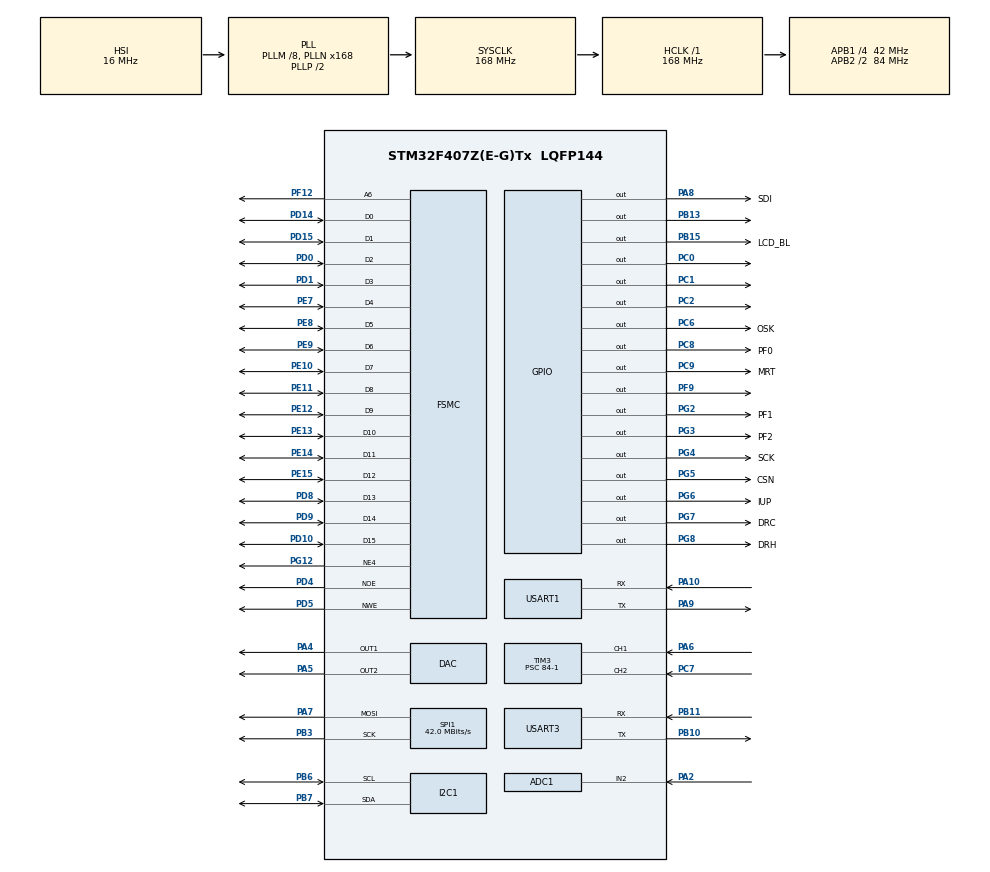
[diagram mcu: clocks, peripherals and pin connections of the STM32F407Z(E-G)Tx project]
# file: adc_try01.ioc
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ADC1.Channel-2\#ChannelRegularConversion=ADC_CHANNEL_2
ADC1.ContinuousConvMode=DISABLE
ADC1.DMAContinuousRequests=ENABLE
ADC1.ExternalTrigConv=ADC_EXTERNALTRIGCONV_T2_TRGO
ADC1.NbrOfConversionFlag=1
ADC1.Rank-2\#ChannelRegularConversion=1
ADC1.SamplingTime-2\#ChannelRegularConversion=ADC_SAMPLETIME_3CYCLES
ADC1.ScanConvMode=DISABLE
ADC1.master=1
DAC.DAC_OutputBuffer=DAC_OUTPUTBUFFER_DISABLE
DAC.DAC_Trigger=DAC_TRIGGER_T5_TRGO
Dma.ADC1.0.Direction=DMA_PERIPH_TO_MEMORY
Dma.ADC1.0.FIFOMode=DMA_FIFOMODE_DISABLE
Dma.ADC1.0.Instance=DMA2_Stream0
Dma.ADC1.0.MemDataAlignment=DMA_MDATAALIGN_HALFWORD
Dma.ADC1.0.MemInc=DMA_MINC_ENABLE
Dma.ADC1.0.Mode=DMA_NORMAL
Dma.ADC1.0.PeriphDataAlignment=DMA_PDATAALIGN_HALFWORD
Dma.ADC1.0.PeriphInc=DMA_PINC_DISABLE
Dma.ADC1.0.Priority=DMA_PRIORITY_VERY_HIGH
Dma.DAC1.2.Direction=DMA_MEMORY_TO_PERIPH
Dma.DAC1.2.FIFOMode=DMA_FIFOMODE_DISABLE
Dma.DAC1.2.Instance=DMA1_Stream5
Dma.DAC1.2.MemDataAlignment=DMA_MDATAALIGN_HALFWORD
Dma.DAC1.2.MemInc=DMA_MINC_ENABLE
Dma.DAC1.2.Mode=DMA_NORMAL
Dma.DAC1.2.PeriphDataAlignment=DMA_PDATAALIGN_HALFWORD
Dma.DAC1.2.PeriphInc=DMA_PINC_DISABLE
Dma.DAC1.2.Priority=DMA_PRIORITY_LOW
Dma.Request0=ADC1
Dma.Request1=SPI1_TX
Dma.Request2=DAC1
Dma.SPI1_TX.1.Direction=DMA_MEMORY_TO_PERIPH
Dma.SPI1_TX.1.FIFOMode=DMA_FIFOMODE_DISABLE
Dma.SPI1_TX.1.Instance=DMA2_Stream3
Dma.SPI1_TX.1.MemDataAlignment=DMA_MDATAALIGN_BYTE
Dma.SPI1_TX.1.MemInc=DMA_MINC_ENABLE
Dma.SPI1_TX.1.Mode=DMA_NORMAL
Dma.SPI1_TX.1.PeriphDataAlignment=DMA_PDATAALIGN_BYTE
Dma.SPI1_TX.1.PeriphInc=DMA_PINC_DISABLE
Dma.SPI1_TX.1.Priority=DMA_PRIORITY_LOW
FSMC.AddressSetupTime1=0x0F
FSMC.BusTurnAroundDuration1=0
FSMC.DataSetupTime1=60
FSMC.ExtendedAddressSetupTime1=9
FSMC.ExtendedBusTurnAroundDuration1=0
FSMC.ExtendedDataSetupTime1=9
FSMC.ExtendedMode1=FSMC_EXTENDED_MODE_ENABLE
Mcu.Family=STM32F4
Mcu.Name=STM32F407Z(E-G)Tx
Mcu.Package=LQFP144
NVIC.ADC_IRQn=true\:2\:0\:true\:false\:true\:true\:true\:true
NVIC.DMA1_Stream5_IRQn=true\:0\:0\:false\:false\:true\:false\:true\:true
NVIC.DMA2_Stream0_IRQn=true\:0\:0\:false\:false\:true\:false\:true\:true
NVIC.DMA2_Stream3_IRQn=true\:0\:0\:false\:false\:true\:false\:true\:true
NVIC.PriorityGroup=NVIC_PRIORITYGROUP_4
NVIC.TIM3_IRQn=true\:0\:0\:false\:false\:true\:true\:true\:true
NVIC.TIM4_IRQn=true\:0\:0\:false\:false\:true\:true\:true\:true
NVIC.USART3_IRQn=true\:0\:0\:false\:false\:true\:true\:true\:true
PA10.Mode=Asynchronous
PA10.Signal=USART1_RX
PA13.Mode=Serial_Wire
PA13.Signal=SYS_JTMS-SWDIO
PA14.Mode=Serial_Wire
PA14.Signal=SYS_JTCK-SWCLK
PA2.Signal=ADCx_IN2
PA4.Signal=COMP_DAC1_group
PA5.Signal=COMP_DAC2_group
PA6.Signal=S_TIM3_CH1
PA7.Mode=TX_Only_Simplex_Unidirect_Master
PA7.Signal=SPI1_MOSI
PA8.GPIO_Label=SDI
PA8.Signal=GPIO_Output
PA9.Mode=Asynchronous
PA9.Signal=USART1_TX
PB10.Mode=Asynchronous
PB10.Signal=USART3_TX
PB11.Mode=Asynchronous
PB11.Signal=USART3_RX
PB13.Signal=GPIO_Output
PB15.GPIO_Label=LCD_BL
PB15.Signal=GPIO_Output
PB3.Mode=TX_Only_Simplex_Unidirect_Master
PB3.Signal=SPI1_SCK
PB6.Mode=I2C
PB6.Signal=I2C1_SCL
PB7.Mode=I2C
PB7.Signal=I2C1_SDA
PC0.GPIO_Speed=GPIO_SPEED_FREQ_HIGH
PC0.Signal=GPIO_Output
PC1.GPIO_Speed=GPIO_SPEED_FREQ_HIGH
PC1.Signal=GPIO_Output
PC14-OSC32_IN.Mode=LSE-External-Oscillator
PC14-OSC32_IN.Signal=RCC_OSC32_IN
PC15-OSC32_OUT.Mode=LSE-External-Oscillator
PC15-OSC32_OUT.Signal=RCC_OSC32_OUT
PC2.GPIO_Speed=GPIO_SPEED_FREQ_HIGH
PC2.Signal=GPIO_Output
PC6.GPIO_Label=OSK
PC6.Signal=GPIO_Output
PC7.Signal=S_TIM3_CH2
PC8.GPIO_Label=PF0
PC8.Signal=GPIO_Output
PC9.GPIO_Label=MRT
PC9.Signal=GPIO_Output
PD0.Signal=FSMC_D2_DA2
PD1.Signal=FSMC_D3_DA3
PD10.Signal=FSMC_D15_DA15
PD14.Signal=FSMC_D0_DA0
PD15.Signal=FSMC_D1_DA1
PD4.Signal=FSMC_NOE
PD5.Signal=FSMC_NWE
PD8.Signal=FSMC_D13_DA13
PD9.Signal=FSMC_D14_DA14
PE10.Signal=FSMC_D7_DA7
PE11.Signal=FSMC_D8_DA8
PE12.Signal=FSMC_D9_DA9
PE13.Signal=FSMC_D10_DA10
PE14.Signal=FSMC_D11_DA11
PE15.Signal=FSMC_D12_DA12
PE7.Signal=FSMC_D4_DA4
PE8.Signal=FSMC_D5_DA5
PE9.Signal=FSMC_D6_DA6
PF12.Signal=FSMC_A6
PF9.Signal=GPIO_Output
PG12.Mode=NorPsramChipSelect4_1
PG12.Signal=FSMC_NE4
PG2.GPIO_Label=PF1
PG2.Signal=GPIO_Output
PG3.GPIO_Label=PF2
PG3.Signal=GPIO_Output
PG4.GPIO_Label=SCK
PG4.Signal=GPIO_Output
PG5.GPIO_Label=CSN
PG5.Signal=GPIO_Output
PG6.GPIO_Label=IUP
PG6.Signal=GPIO_Output
PG7.GPIO_Label=DRC
PG7.Signal=GPIO_Output
PG8.GPIO_Label=DRH
PG8.Signal=GPIO_Output
PH0-OSC_IN.Mode=HSE-External-Oscillator
PH0-OSC_IN.Signal=RCC_OSC_IN
PH1-OSC_OUT.Mode=HSE-External-Oscillator
PH1-OSC_OUT.Signal=RCC_OSC_OUT
ProjectManager.HeapSize=0x200
ProjectManager.StackSize=0x400
ProjectManager.TargetToolchain=MDK-ARM V5
RCC.48MHZClocksFreq_Value=84000000
RCC.AHBFreq_Value=168000000
RCC.APB1CLKDivider=RCC_HCLK_DIV4
RCC.APB1Freq_Value=42000000
RCC.APB1TimFreq_Value=84000000
RCC.APB2CLKDivider=RCC_HCLK_DIV2
RCC.APB2Freq_Value=84000000
RCC.APB2TimFreq_Value=168000000
RCC.CortexFreq_Value=168000000
RCC.HCLKFreq_Value=168000000
RCC.HSE_VALUE=25000000
RCC.HSI_VALUE=16000000
RCC.PLLM=8
RCC.PLLN=168
RCC.SYSCLKFreq_VALUE=168000000
RCC.SYSCLKSource=RCC_SYSCLKSOURCE_PLLCLK
RCC.VCOOutputFreq_Value=336000000
SH.ADCx_IN2.0=ADC1_IN2,IN2
SH.COMP_DAC1_group.0=DAC_OUT1,DAC_OUT1
SH.COMP_DAC2_group.0=DAC_OUT2,DAC_OUT2
SH.FSMC_A6.0=FSMC_A6,A6_1
SH.FSMC_D0_DA0.0=FSMC_D0,16b-d1
SH.FSMC_D10_DA10.0=FSMC_D10,16b-d1
SH.FSMC_D11_DA11.0=FSMC_D11,16b-d1
SH.FSMC_D12_DA12.0=FSMC_D12,16b-d1
SH.FSMC_D13_DA13.0=FSMC_D13,16b-d1
SH.FSMC_D14_DA14.0=FSMC_D14,16b-d1
SH.FSMC_D15_DA15.0=FSMC_D15,16b-d1
SH.FSMC_D1_DA1.0=FSMC_D1,16b-d1
SH.FSMC_D2_DA2.0=FSMC_D2,16b-d1
SH.FSMC_D3_DA3.0=FSMC_D3,16b-d1
SH.FSMC_D4_DA4.0=FSMC_D4,16b-d1
SH.FSMC_D5_DA5.0=FSMC_D5,16b-d1
SH.FSMC_D6_DA6.0=FSMC_D6,16b-d1
SH.FSMC_D7_DA7.0=FSMC_D7,16b-d1
SH.FSMC_D8_DA8.0=FSMC_D8,16b-d1
SH.FSMC_D9_DA9.0=FSMC_D9,16b-d1
SH.FSMC_NOE.0=FSMC_NOE,Lcd1
SH.FSMC_NWE.0=FSMC_NWE,Lcd1
SH.S_TIM3_CH1.0=TIM3_CH1,TriggerSource_TI1FP1
SH.S_TIM3_CH1.1=TIM3_CH1,Input_Capture1_from_TI1
SH.S_TIM3_CH2.0=TIM3_CH2,Input_Capture2_from_TI2
SPI1.CalculateBaudRate=42.0 MBits/s
SPI1.Direction=SPI_DIRECTION_2LINES
SPI1.Mode=SPI_MODE_MASTER
SPI1.VirtualType=VM_MASTER
STMicroelectronics.X-CUBE-ALGOBUILD.1.4.0.LibraryCcDSPOoLibraryJjDSPOoLibrary=true
TIM2.AutoReloadPreload=TIM_AUTORELOAD_PRELOAD_ENABLE
TIM2.Channel-PWM\ Generation2\ No\ Output=TIM_CHANNEL_2
TIM2.Period=4-1
TIM2.Prescaler=41-1
TIM2.Pulse-PWM\ Generation2\ No\ Output=2-1
TIM2.TIM_MasterOutputTrigger=TIM_TRGO_OC2REF
TIM2.TIM_MasterSlaveMode=TIM_MASTERSLAVEMODE_DISABLE
TIM3.AutoReloadPreload=TIM_AUTORELOAD_PRELOAD_ENABLE
TIM3.Channel-Input_Capture1_from_TI1=TIM_CHANNEL_1
TIM3.Channel-Input_Capture2_from_TI2=TIM_CHANNEL_2
TIM3.ICPolarity_CH2=TIM_INPUTCHANNELPOLARITY_FALLING
TIM3.Period=20000-1
TIM3.Prescaler=84-1
TIM3.TIM_MasterOutputTrigger=TIM_TRGO_RESET
TIM4.AutoReloadPreload=TIM_AUTORELOAD_PRELOAD_ENABLE
TIM4.Period=1000-1
TIM4.Prescaler=83-1
TIM5.AutoReloadPreload=TIM_AUTORELOAD_PRELOAD_ENABLE
TIM5.Period=84-1
TIM5.TIM_MasterOutputTrigger=TIM_TRGO_UPDATE
USART1.VirtualMode=VM_ASYNC
USART3.VirtualMode=VM_ASYNC
VP_STMicroelectronics.X-CUBE-ALGOBUILD_VS_DSPOoLibraryJjLibrary_1.4.0_1.4.0.Mode=DSPOoLibraryJjLibrary
VP_TIM2_VS_ClockSourceINT.Mode=Internal
VP_TIM2_VS_no_output2.Mode=PWM Generation2 No Output
VP_TIM3_VS_ClockSourceINT.Mode=Internal
VP_TIM3_VS_ControllerModeReset.Mode=Reset Mode
VP_TIM4_VS_ClockSourceINT.Mode=Internal
VP_TIM5_VS_ClockSourceINT.Mode=Internal
board=custom

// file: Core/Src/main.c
/* USER CODE BEGIN Header */
/**
  ******************************************************************************
  * @file           : main.c
  * @brief          : Main program body
  ******************************************************************************
  * @attention
  *
  * Copyright (c) 2024 STMicroelectronics.
  * All rights reserved.
  *
  * This software is licensed under terms that can be found in the LICENSE file
  * in the root directory of this software component.
  * If no LICENSE file comes with this software, it is provided AS-IS.
  *
  ******************************************************************************
  */
/* USER CODE END Header */
#include "main.h"
#include "adc.h"
#include "dac.h"
#include "dma.h"
#include "i2c.h"
#include "spi.h"
#include "tim.h"
#include "usart.h"
#include "gpio.h"
#include "fsmc.h"

/* USER CODE BEGIN Includes */
#include "stdio.h"
#include "lcd.h"
#include "arm_math.h"
#include "arm_const_structs.h"
#include "LCD_Show.h"
#include "fft_handle.h"
#include "AD9910.h"
#include "AD9833.h"
#include "AD9833_Setup.h"

/* USER CODE END Includes */

/* USER CODE BEGIN PD */
#define FFT_LENGTH 4096										//采样点个数
#define AD9910_FREQ 100000                                      //AD9910输出频率
/* USER CODE END PD */

/* USER CODE BEGIN PV */
uint16_t i = 0;
uint16_t j = 0;
uint16_t DrawingTime_cnt = 0;
uint16_t PWMCheck_cnt = 0;
uint16_t adcBuff[FFT_LENGTH];							//adc采样数组
float adcVolt[FFT_LENGTH];								//adc转换后的真实电压数组
__IO uint8_t AdcConvEnd = 0;							//adc采集完成标志
uint32_t f_sa = 512000;										//基础采样频率为512K
float fft_frequency = 0;
float fft_frequency2=0;   //FFT测出最大基波频率、次大基波频率
extern float fft_outputbuf[FFT_LENGTH];  				//fft计算后数组
extern float bizhi1[10];

/* USER CODE END PV */

void SystemClock_Config(void);

/* USER CODE BEGIN 0 */

float PWM_RisingCount;
float PWM_FallingCount;
float duty;
char P_buff[30];
float PWM_frequency = 0;

//UART板际通信数据
char rxStr[256];

uint8_t bo1;
uint8_t findex1; //频率波形变量定义
uint8_t bo2;
uint8_t findex2;

void PWM_Input_Capture(void)
{
//		printf("PWM_Frequency = %.4f \r\n",1000000/PWM_RisingCount);			//数据测试
//		printf("PWM_RisingCount = %.2f %% \r\n",PWM_RisingCount);
//		printf("PWM_FallingCount = %.2f %% \r\n",PWM_FallingCount);
//	  printf("PWM_Duty = %.2f %% \r\n",duty * 100);
		PWMCheck_cnt++;
		if (PWMCheck_cnt==10)
		{
			lcd_show_string(405,160,80,16,16,"PWM_F(Hz):",YELLOW);
			sprintf(P_buff,"%0.3fHz",1000000/PWM_RisingCount);									//PWM测频率
			lcd_show_string(405,180,130,16,16,P_buff,WHITE);
			lcd_show_string(405,120,80,16,16,"Duty:",YELLOW);
			sprintf(P_buff,"%.2f %%",duty * 100);																//PWM测占空比
			lcd_show_string(405,140,80,16,16,P_buff,WHITE);
			PWMCheck_cnt = 0;
		}

}
/* USER CODE END 0 */

int main(void)
{

  /* MCU Configuration--------------------------------------------------------*/

  /* Reset of all peripherals, Initializes the Flash interface and the Systick. */
  HAL_Init();

  /* Configure the system clock */
  SystemClock_Config();

  /* Initialize all configured peripherals */
  MX_GPIO_Init();
  MX_DMA_Init();
  MX_ADC1_Init();
  MX_USART1_UART_Init();
  MX_TIM3_Init();
  MX_TIM2_Init();
  MX_FSMC_Init();
  MX_SPI1_Init();
  MX_DAC_Init();
  MX_I2C1_Init();
  MX_TIM4_Init();
  MX_TIM5_Init();
  MX_USART3_UART_Init();
  /* USER CODE BEGIN 2 */
//	lcd_init();
//	lcd_display_dir(1);
	HAL_TIM_Base_Start(&htim2);
  //HAL_TIM_PWM_Start(&htim2, TIM_CHANNEL_2);
	HAL_TIM_Base_Start(&htim3);//启动定时器3
	HAL_TIM_IC_Start_IT(&htim3,TIM_CHANNEL_1);							//定时器3通道1——上升沿捕获
	HAL_TIM_IC_Start_IT(&htim3,TIM_CHANNEL_2);							//定时器3通道2——下降沿捕获
	Set_BackGround();	        //显示背景
	Lcd_DrawNetwork();
	Draw_Prompt();				//画提示符

	HAL_ADC_Start_DMA(&hadc1,(uint32_t*)adcBuff,FFT_LENGTH);//启动ADC的DMA传输
	  //DDS正弦波设置 AD9910
    AD9910_Init();                                                  // 初始化AD9910
    AD9910_Singal_Profile_Init();                                   // 单频PROFILE初始化
    AD9910_Singal_Profile_Set(0, AD9910_FREQ, 0x3FFF, 0);             // 设置正弦波信息 （ 通道（0~7） ， 频率 ，幅度 ， 相位 ）
	//DDS初始化 AD9833

//	AD9833_Typedef AD9833_1;
//	AD9833_1.PORT = GPIOC;
//    AD9833_1.DATA = GPIO_PIN_0;
//    AD9833_1.SCK = GPIO_PIN_1;
//    AD9833_1.SS = GPIO_PIN_2;
//	AD9833_Init(AD9833_1,0,1000,0);  //type,fre,phase
//	AD9833_SetWave(0, AD9833_1);    //0:SIN; 1:FANGBO; 2:SANJIAO
//	AD9833_SetWaveData(1000, 0, AD9833_1); //FRE\PHASE\Value

	//DDS初始化结束
	HAL_GPIO_WritePin(GPIOF,GPIO_PIN_9,GPIO_PIN_RESET);
	HAL_UART_Receive_IT(&huart3, (uint8_t *)&aRxBuffer, 3);
	//波形、频率变量初始化
	printf("Start\n");
	bo1=0;
	findex1=16;
	bo2=0;
	findex2=2;
  /* USER CODE END 2 */

  /* Infinite loop */
  /* USER CODE BEGIN WHILE */
  while (1)
  {

	  while (!AdcConvEnd);                                   //等待转换完毕
		for (j = 0; j < FFT_LENGTH; j++)										//输出adc模拟采样值
		{
			adcVolt[j] = adcBuff[j] * 3.3 / 4095;							// adcBuff[j]* 3.3 / 4096是为了将ADC采集到的值转换成实际电压

			//printf("adcBuff[%d]:%.3f\n",j,adcVolt[j]*1000); 			//数据打印，查看结果
		}
		ADCvolt_ANA();
//		DrawingTime_cnt++;           //去掉波形显示
//		if (DrawingTime_cnt==10)
//		{
//			//DrawOscillogram();
//			DrawingTime_cnt = 0;
//		}

		//fftCalculate();

		HAL_ADC_Start_DMA(&hadc1,(uint32_t*)adcBuff,FFT_LENGTH);//启动ADC的DMA传输
		//UART板际通信处理
		if(rxUpdateFlag == 1)  // 收到新数据，开始处理数据
		{
			strcpy(rxStr, (char *)Uart_RxBuff);
//			printf("%s\r\n", rxStr);
			// 处理数据
	//		get_Data(rxStr, drawBuffer1, 'a', 'b');
	//		get_Data(rxStr, drawBuffer2, 'b', 'c');
	//		get_Data(rxStr, drawBuffer3, 'c', 'd');
			//printf("RE:%c\n",drawBuffer1[0]);
			//解码rxStr
			if (rxStr[1]=='a')
			{
				bo1=0;
			}
			else
			{
				bo1=1;
			}
			if (rxStr[4]=='a')
			{
				bo1=0;
			}
			else
			{
				bo1=1;
			}
			findex1=((int)rxStr[2]-48)*10+(int)rxStr[3]-48; //+(int)rxStr[3]
			findex2=((int)rxStr[5]-48)*10+(int)rxStr[6]-48;
//			printf("A:%d,%d\n",bo1,findex1);
//			printf("B:%d,%d\n",bo2,findex2);
			//收到频率单片机信息 灯闪
			HAL_GPIO_WritePin(GPIOF,GPIO_PIN_9,GPIO_PIN_RESET);
			HAL_Delay(200);
			HAL_GPIO_WritePin(GPIOF,GPIO_PIN_9,GPIO_PIN_SET);
			// 清除标志位，缓存等
			memset(Uart_RxBuff,0x00,sizeof(Uart_RxBuff));
			rxUpdateFlag = 0;
			Uart_Rx_Cnt = 0;
		}
    /* USER CODE END WHILE */

  }
}

void SystemClock_Config(void)
{
  RCC_OscInitTypeDef RCC_OscInitStruct = {0};
  RCC_ClkInitTypeDef RCC_ClkInitStruct = {0};

  /** Configure the main internal regulator output voltage
  */
  __HAL_RCC_PWR_CLK_ENABLE();
  __HAL_PWR_VOLTAGESCALING_CONFIG(PWR_REGULATOR_VOLTAGE_SCALE1);

  /** Initializes the RCC Oscillators according to the specified parameters
  * in the RCC_OscInitTypeDef structure.
  */
  RCC_OscInitStruct.OscillatorType = RCC_OSCILLATORTYPE_HSI;
  RCC_OscInitStruct.HSIState = RCC_HSI_ON;
  RCC_OscInitStruct.HSICalibrationValue = RCC_HSICALIBRATION_DEFAULT;
  RCC_OscInitStruct.PLL.PLLState = RCC_PLL_ON;
  RCC_OscInitStruct.PLL.PLLSource = RCC_PLLSOURCE_HSI;
  RCC_OscInitStruct.PLL.PLLM = 8;
  RCC_OscInitStruct.PLL.PLLN = 168;
  RCC_OscInitStruct.PLL.PLLP = RCC_PLLP_DIV2;
  RCC_OscInitStruct.PLL.PLLQ = 4;
  if (HAL_RCC_OscConfig(&RCC_OscInitStruct) != HAL_OK)
  {
    Error_Handler();
  }

  /** Initializes the CPU, AHB and APB buses clocks
  */
  RCC_ClkInitStruct.ClockType = RCC_CLOCKTYPE_HCLK|RCC_CLOCKTYPE_SYSCLK
                              |RCC_CLOCKTYPE_PCLK1|RCC_CLOCKTYPE_PCLK2;
  RCC_ClkInitStruct.SYSCLKSource = RCC_SYSCLKSOURCE_PLLCLK;
  RCC_ClkInitStruct.AHBCLKDivider = RCC_SYSCLK_DIV1;
  RCC_ClkInitStruct.APB1CLKDivider = RCC_HCLK_DIV4;
  RCC_ClkInitStruct.APB2CLKDivider = RCC_HCLK_DIV2;

  if (HAL_RCC_ClockConfig(&RCC_ClkInitStruct, FLASH_LATENCY_5) != HAL_OK)
  {
    Error_Handler();
  }
}

/* USER CODE BEGIN 4 */

void HAL_TIM_IC_CaptureCallback(TIM_HandleTypeDef *htim)
{
	if(htim->Channel == HAL_TIM_ACTIVE_CHANNEL_1)
    //注意这里为HAL_TIM_ACTIVE_CHANNEL_1而不是TIM_CHANNEL_1
	{
		PWM_RisingCount = HAL_TIM_ReadCapturedValue(&htim3,TIM_CHANNEL_1);
		duty =	PWM_FallingCount / PWM_RisingCount;
	}
	if(htim->Channel == HAL_TIM_ACTIVE_CHANNEL_2)
	{
		PWM_FallingCount = HAL_TIM_ReadCapturedValue(&htim3,TIM_CHANNEL_2);
	}
	PWM_Input_Capture();
}

//void HAL_ADC_ConvCpltCallback(ADC_HandleTypeDef* hadc)
//{
//    if(hadc==&hadc1 && i < FFT_LENGTH)
//    {
//				adcBuff[i] =HAL_ADC_GetValue(&hadc1);				//采样存入adcBuff[FFT_LENGTH]
//        i++;
//		}
//		else
//		{
//			AdcConvEnd=1;																	//采样完成，标志置1，开始fft计算
//			i = 0;
//		}
//
//}
/* USER CODE END 4 */

void Error_Handler(void)
{
  __disable_irq();
  while (1)
  {
  }
}
